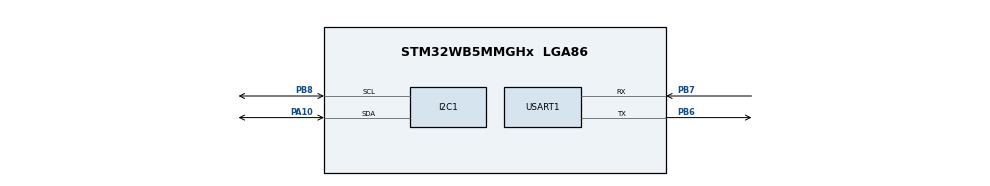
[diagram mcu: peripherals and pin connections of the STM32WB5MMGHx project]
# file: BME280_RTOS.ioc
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FREERTOS.Tasks01=Temperature,24,256,StartTemperature,Default,NULL,Dynamic,NULL,NULL;Pressure,16,256,StartPressure,Default,NULL,Dynamic,NULL,NULL;Humidity,8,256,StartHumidity,Default,NULL,Dynamic,NULL,NULL
FREERTOS.configMINIMAL_STACK_SIZE=128
FREERTOS.configTOTAL_HEAP_SIZE=6144
I2C1.Timing=0x10B17DB5
Mcu.Family=STM32WB
Mcu.Name=STM32WB5MMGHx
Mcu.Package=LGA86
NVIC.PriorityGroup=NVIC_PRIORITYGROUP_4
NVIC.TIM1_UP_TIM16_IRQn=true\:15\:0\:false\:false\:true\:false\:false\:true\:true
NVIC.TimeBase=TIM1_UP_TIM16_IRQn
NVIC.TimeBaseIP=TIM16
PA10.GPIO_Pu=GPIO_PULLUP
PA10.Mode=I2C
PA10.Signal=I2C1_SDA
PA13.Mode=Trace_Asynchronous_SW
PA13.Signal=SYS_JTMS-SWDIO
PA14.Mode=Trace_Asynchronous_SW
PA14.Signal=SYS_JTCK-SWCLK
PB3.Mode=Trace_Asynchronous_SW
PB3.Signal=SYS_JTDO-SWO
PB6.Mode=Asynchronous
PB6.Signal=USART1_TX
PB7.Mode=Asynchronous
PB7.Signal=USART1_RX
PB8.GPIO_FM8=SYSCFG_FASTMODEPLUS_PB8
PB8.GPIO_Pu=GPIO_PULLUP
PB8.Mode=I2C
PB8.Signal=I2C1_SCL
ProjectManager.HeapSize=0x200
ProjectManager.StackSize=0x400
ProjectManager.TargetToolchain=STM32CubeIDE
RCC.ADCFreq_Value=48000000
RCC.AHB2CLKDivider=RCC_SYSCLK_DIV2
RCC.AHBFreq_Value=64000000
RCC.APB1Freq_Value=64000000
RCC.APB1TimFreq_Value=64000000
RCC.APB2Freq_Value=64000000
RCC.APB2TimFreq_Value=64000000
RCC.APB3Freq_Value=16000000
RCC.Cortex2_Div=SYSTICK_CLKSOURCE_HCLK_DIV8
RCC.CortexFreq_Value=64000000
RCC.HCLKFreq_Value=64000000
RCC.HSE_VALUE=32000000
RCC.HSI48_VALUE=48000000
RCC.HSI_VALUE=16000000
RCC.PLLN=32
RCC.PLLSAI1N=24
RCC.SYSCLKFreq_VALUE=64000000
RCC.SYSCLKSource=RCC_SYSCLKSOURCE_PLLCLK
RCC.USBFreq_Value=48000000
RCC.VCOOutputFreq_Value=128000000
USART1.VirtualMode-Asynchronous=VM_ASYNC
VP_FREERTOS_VS_CMSIS_V2.Mode=CMSIS_V2
VP_MEMORYMAP_VS_MEMORYMAP.Mode=CurAppReg
VP_SYS_VS_tim16.Mode=TIM16
board=STM32WB5MM-DK

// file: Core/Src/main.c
/* USER CODE BEGIN Header */
/**
  ******************************************************************************
  * @file           : main.c
  * @brief          : Main program body
  ******************************************************************************
  * @attention
  *
  * Copyright (c) 2025 STMicroelectronics.
  * All rights reserved.
  *
  * This software is licensed under terms that can be found in the LICENSE file
  * in the root directory of this software component.
  * If no LICENSE file comes with this software, it is provided AS-IS.
  *
  ******************************************************************************
  */
/* USER CODE END Header */
#include "main.h"
#include "cmsis_os.h"

/* USER CODE BEGIN Includes */
#include "bme280.h"  // Include the new BMP280 header file
#include <stdio.h>
#include <stdint.h>
#include <string.h>

/* USER CODE END Includes */

/* USER CODE BEGIN PD */
//Registers store the temperature value (MSB, LSB, XLSB) - Data registers, read only.
//Without filter, resolution depends on osrs_t else it is always 20 bits
#define temp_xlsb 0xFC //Contains the XLSB part ut[3:0] of the raw temperature measurement output data, depends on pressure resolution
#define temp_lsb 0xFB //Contains the LSB part ut[11:4] of the raw temperature measurement output data
#define temp_msb 0xFA //Contains the MSB part ut[19:12] of the raw temperature measurement output data

//Without filter, resolution depends on osrs_p else it is always 20 bits
#define press_xslb 0xF9 //Contains the XLSB part up[3:0] of the raw pressure measurement output data, depends on temperature resolution
#define press_lsb 0xF8 //Contains the LSB part up[11:4] of the raw pressure measurement output data
#define press_msb 0xF7 //Contains the MSB part up[19:12] of the raw pressure measurement output data

//#define hum_xslb 0xF9
#define hum_lsb 0xFE //Contains the LSB part uh[7:0] of the raw humidity measurement output data
#define hum_msb 0xFD //Contains the MSB part uh[15:8] of the raw humidity measurement output data

#define config 0xF5 //Sets the rate, filter and interface options of the device, read/write except in bit1 does not change (reserved)
#define ctrl_meas 0xF4  //Sets the pressure and temperature data acquisition options on the device, read/write

#define status 0xF3 //Contains two bits that indicate status of the device, read only
#define reset 0xE0 //Contains soft reset word reset[7:0], write only
#define id 0xD0 //Chip identification number chip_id[0x60], read only

//Calibration data registers (read only) which store the factory calibration data for calculating the final value of pressure and temperature.
#define cal25 0xA1
#define cal24 0xA0
#define cal23 0x9F
#define cal22 0x9E
#define cal21 0x9D
#define cal20 0x9C
#define cal19 0x9B
#define cal18 0x9A
#define cal17 0x99
#define cal16 0x98
#define cal15 0x97
#define cal14 0x96
#define cal13 0x95
#define cal12 0x94
#define cal11 0x93
#define cal10 0x92
#define cal09 0x91
#define cal08 0x90
#define cal07 0x8F
#define cal06 0x8E
#define cal05 0x8D
#define cal04 0x8C
#define cal03 0x8B
#define cal02 0x8A
#define cal01 0x89
#define cal00 0x88

/* USER CODE END PD */

I2C_HandleTypeDef hi2c1;

UART_HandleTypeDef huart1;

/* Definitions for Temperature */
osThreadId_t TemperatureHandle;
const osThreadAttr_t Temperature_attributes = {
  .name = "Temperature",
  .priority = (osPriority_t) osPriorityNormal,
  .stack_size = 256 * 4
};
/* Definitions for Pressure */
osThreadId_t PressureHandle;
const osThreadAttr_t Pressure_attributes = {
  .name = "Pressure",
  .priority = (osPriority_t) osPriorityBelowNormal,
  .stack_size = 256 * 4
};
/* Definitions for Humidity */
osThreadId_t HumidityHandle;
const osThreadAttr_t Humidity_attributes = {
  .name = "Humidity",
  .priority = (osPriority_t) osPriorityLow,
  .stack_size = 256 * 4
};

void SystemClock_Config(void);
void PeriphCommonClock_Config(void);
static void MX_GPIO_Init(void);
static void MX_I2C1_Init(void);
static void MX_USART1_UART_Init(void);
void StartTemperature(void *argument);
void StartPressure(void *argument);
void StartHumidity(void *argument);

int main(void)
{

  /* MCU Configuration--------------------------------------------------------*/

  /* Reset of all peripherals, Initializes the Flash interface and the Systick. */
  HAL_Init();

  /* Configure the system clock */
  SystemClock_Config();

  /* Configure the peripherals common clocks */
  PeriphCommonClock_Config();

  /* Initialize all configured peripherals */
  MX_GPIO_Init();
  MX_I2C1_Init();
  MX_USART1_UART_Init();
  /* USER CODE BEGIN 2 */

  uint8_t chipID = 0;

  //Writes configuration values to the ctrl_meas register, setting the measurement mode
  uint8_t BMP280_Config[2]={0xB3,0xA0};
  HAL_I2C_Mem_Write(&hi2c1, DEVICE_ADDRESS_L,ctrl_meas,1,BMP280_Config,2,0x10000);

  //uint8_t temp_data[3], press_data[3], hum_data[2];

  /* Read Calibration Data */
  read_calibration_data(&hi2c1);

  /* USER CODE END 2 */

  /* Init scheduler */
  osKernelInitialize();

  /* Create the thread(s) */
  /* creation of Temperature */
  TemperatureHandle = osThreadNew(StartTemperature, NULL, &Temperature_attributes);

  /* creation of Pressure */
  PressureHandle = osThreadNew(StartPressure, NULL, &Pressure_attributes);

  /* creation of Humidity */
  HumidityHandle = osThreadNew(StartHumidity, NULL, &Humidity_attributes);

  /* Start scheduler */
  osKernelStart();

  /* We should never get here as control is now taken by the scheduler */

  /* Infinite loop */
  while (1)
  {

    /* USER CODE BEGIN 3 */
	//HAL_Delay(1000);  // Update data every 1 second
  }
  /* USER CODE END 3 */
}

void SystemClock_Config(void)
{
  RCC_OscInitTypeDef RCC_OscInitStruct = {0};
  RCC_ClkInitTypeDef RCC_ClkInitStruct = {0};

  /** Configure the main internal regulator output voltage
  */
  __HAL_PWR_VOLTAGESCALING_CONFIG(PWR_REGULATOR_VOLTAGE_SCALE1);

  /** Initializes the RCC Oscillators according to the specified parameters
  * in the RCC_OscInitTypeDef structure.
  */
  RCC_OscInitStruct.OscillatorType = RCC_OSCILLATORTYPE_HSI|RCC_OSCILLATORTYPE_MSI;
  RCC_OscInitStruct.HSIState = RCC_HSI_ON;
  RCC_OscInitStruct.MSIState = RCC_MSI_ON;
  RCC_OscInitStruct.HSICalibrationValue = RCC_HSICALIBRATION_DEFAULT;
  RCC_OscInitStruct.MSICalibrationValue = RCC_MSICALIBRATION_DEFAULT;
  RCC_OscInitStruct.MSIClockRange = RCC_MSIRANGE_6;
  RCC_OscInitStruct.PLL.PLLState = RCC_PLL_ON;
  RCC_OscInitStruct.PLL.PLLSource = RCC_PLLSOURCE_MSI;
  RCC_OscInitStruct.PLL.PLLM = RCC_PLLM_DIV1;
  RCC_OscInitStruct.PLL.PLLN = 32;
  RCC_OscInitStruct.PLL.PLLP = RCC_PLLP_DIV2;
  RCC_OscInitStruct.PLL.PLLR = RCC_PLLR_DIV2;
  RCC_OscInitStruct.PLL.PLLQ = RCC_PLLQ_DIV2;
  if (HAL_RCC_OscConfig(&RCC_OscInitStruct) != HAL_OK)
  {
    Error_Handler();
  }

  /** Configure the SYSCLKSource, HCLK, PCLK1 and PCLK2 clocks dividers
  */
  RCC_ClkInitStruct.ClockType = RCC_CLOCKTYPE_HCLK4|RCC_CLOCKTYPE_HCLK2
                              |RCC_CLOCKTYPE_HCLK|RCC_CLOCKTYPE_SYSCLK
                              |RCC_CLOCKTYPE_PCLK1|RCC_CLOCKTYPE_PCLK2;
  RCC_ClkInitStruct.SYSCLKSource = RCC_SYSCLKSOURCE_PLLCLK;
  RCC_ClkInitStruct.AHBCLKDivider = RCC_SYSCLK_DIV1;
  RCC_ClkInitStruct.APB1CLKDivider = RCC_HCLK_DIV1;
  RCC_ClkInitStruct.APB2CLKDivider = RCC_HCLK_DIV1;
  RCC_ClkInitStruct.AHBCLK2Divider = RCC_SYSCLK_DIV2;
  RCC_ClkInitStruct.AHBCLK4Divider = RCC_SYSCLK_DIV1;

  if (HAL_RCC_ClockConfig(&RCC_ClkInitStruct, FLASH_LATENCY_3) != HAL_OK)
  {
    Error_Handler();
  }
}

void PeriphCommonClock_Config(void)
{
  RCC_PeriphCLKInitTypeDef PeriphClkInitStruct = {0};

  /** Initializes the peripherals clock
  */
  PeriphClkInitStruct.PeriphClockSelection = RCC_PERIPHCLK_SMPS;
  PeriphClkInitStruct.SmpsClockSelection = RCC_SMPSCLKSOURCE_HSI;
  PeriphClkInitStruct.SmpsDivSelection = RCC_SMPSCLKDIV_RANGE1;

  if (HAL_RCCEx_PeriphCLKConfig(&PeriphClkInitStruct) != HAL_OK)
  {
    Error_Handler();
  }
}

static void MX_I2C1_Init(void)
{

  hi2c1.Instance = I2C1;
  hi2c1.Init.Timing = 0x10B17DB5;
  hi2c1.Init.OwnAddress1 = 0;
  hi2c1.Init.AddressingMode = I2C_ADDRESSINGMODE_7BIT;
  hi2c1.Init.DualAddressMode = I2C_DUALADDRESS_DISABLE;
  hi2c1.Init.OwnAddress2 = 0;
  hi2c1.Init.OwnAddress2Masks = I2C_OA2_NOMASK;
  hi2c1.Init.GeneralCallMode = I2C_GENERALCALL_DISABLE;
  hi2c1.Init.NoStretchMode = I2C_NOSTRETCH_DISABLE;
  if (HAL_I2C_Init(&hi2c1) != HAL_OK)
  {
    Error_Handler();
  }

  /** Configure Analogue filter
  */
  if (HAL_I2CEx_ConfigAnalogFilter(&hi2c1, I2C_ANALOGFILTER_ENABLE) != HAL_OK)
  {
    Error_Handler();
  }

  /** Configure Digital filter
  */
  if (HAL_I2CEx_ConfigDigitalFilter(&hi2c1, 0) != HAL_OK)
  {
    Error_Handler();
  }

}

static void MX_USART1_UART_Init(void)
{

  huart1.Instance = USART1;
  huart1.Init.BaudRate = 115200;
  huart1.Init.WordLength = UART_WORDLENGTH_8B;
  huart1.Init.StopBits = UART_STOPBITS_1;
  huart1.Init.Parity = UART_PARITY_NONE;
  huart1.Init.Mode = UART_MODE_TX_RX;
  huart1.Init.HwFlowCtl = UART_HWCONTROL_NONE;
  huart1.Init.OverSampling = UART_OVERSAMPLING_16;
  huart1.Init.OneBitSampling = UART_ONE_BIT_SAMPLE_DISABLE;
  huart1.Init.ClockPrescaler = UART_PRESCALER_DIV1;
  huart1.AdvancedInit.AdvFeatureInit = UART_ADVFEATURE_NO_INIT;
  if (HAL_UART_Init(&huart1) != HAL_OK)
  {
    Error_Handler();
  }
  if (HAL_UARTEx_SetTxFifoThreshold(&huart1, UART_TXFIFO_THRESHOLD_1_8) != HAL_OK)
  {
    Error_Handler();
  }
  if (HAL_UARTEx_SetRxFifoThreshold(&huart1, UART_RXFIFO_THRESHOLD_1_8) != HAL_OK)
  {
    Error_Handler();
  }
  if (HAL_UARTEx_DisableFifoMode(&huart1) != HAL_OK)
  {
    Error_Handler();
  }

}

static void MX_GPIO_Init(void)
{

  /* GPIO Ports Clock Enable */
  __HAL_RCC_GPIOB_CLK_ENABLE();
  __HAL_RCC_GPIOA_CLK_ENABLE();

}

void StartTemperature(void *argument)
{
  /* USER CODE BEGIN 5 */
  /* Infinite loop */
  while(1){
	  uint8_t temp_data[3];
	  unsigned char temp_reg = 0xFA;

      // Read Raw temperature
      HAL_I2C_Master_Transmit(&hi2c1, DEVICE_ADDRESS_L, &temp_reg, 1, 500);
      HAL_I2C_Master_Receive(&hi2c1, DEVICE_ADDRESS_L | 0x01, temp_data, 3, 500);

      // Convert raw temperature data (20-bit value) + Compensate
      int32_t raw_temp = ((int32_t)temp_data[0] << 12) | ((int32_t)temp_data[1] << 4) | (temp_data[2] >> 4);
      float temp = compensate_temperature(raw_temp);

      // Print to UART
      //char buffer[50];
      //sprintf(buffer, "Temperature: %.2f \xB0C \r\n", temp);
      //HAL_UART_Transmit(&huart1, (uint8_t *)buffer, strlen(buffer), 100);

      //Print to SWV
      printf("Task 1 \n");
      printf("Temperature: %.2f C\r\n", temp);
      fflush(stdout);

      osDelay(1000);
  }
  /* USER CODE END 5 */
}

void StartPressure(void *argument)
{
  /* USER CODE BEGIN StartPressure */
  /* Infinite loop */
  while(1){
	  uint8_t press_data[3];
	  unsigned char press_reg = 0xF7;

	  // Read Raw Pressure
	  HAL_I2C_Master_Transmit(&hi2c1, DEVICE_ADDRESS_L, &press_reg, 1, 500);
	  HAL_I2C_Master_Receive(&hi2c1, DEVICE_ADDRESS_L | 0x01, press_data, 3, 500);

	  // Convert raw pressure data (20-bit value)+ Compensate
	  int32_t raw_press = ((int32_t)press_data[0] << 12) | ((int32_t)press_data[1] << 4) | (press_data[2] >> 4);
	  float pressure = compensate_pressure(raw_press);

	  // Print to UART
	  //char buffer[50];
	  //sprintf(buffer, "Pressure: %.2f hPa\r\n", pressure);
	  //HAL_UART_Transmit(&huart1, (uint8_t *)buffer, strlen(buffer), 100);

	  //Print to SWV
	  printf("Task 2 \n");
	  printf("Pressure: %.2f hPa\r\n", pressure);
	  fflush(stdout);

	  osDelay(1000);
  }
  /* USER CODE END StartPressure */
}

void StartHumidity(void *argument)
{
  /* USER CODE BEGIN StartHumidity */
  /* Infinite loop */
  while(1){
	  uint8_t hum_data[2];
	  unsigned char hum_reg = 0xFD;

	  // Read Raw Humidity
	  HAL_I2C_Master_Transmit(&hi2c1, DEVICE_ADDRESS_L, &hum_reg, 1, 500);
	  HAL_I2C_Master_Receive(&hi2c1, DEVICE_ADDRESS_L | 0x01, hum_data, 2, 500);

	  // Convert raw pressure data (20-bit value)+ Compensate
	  int32_t raw_hum = ((int32_t)hum_data[0] << 8) | hum_data[1];
	  float humidity = compensate_humidity(raw_hum);

	  // Print to UART
	  //char buffer[50];
	  //sprintf(buffer, "Humidity: %.2f %%\r\n", humidity);
	  //HAL_UART_Transmit(&huart1, (uint8_t *)buffer, strlen(buffer), 100);

	  //Print to SWV
	  printf("Task 3 \n");
	  printf("Humidity: %.2f %%\r\n", humidity);
	  fflush(stdout);

	  osDelay(1000);
  }
  /* USER CODE END StartHumidity */
}

void HAL_TIM_PeriodElapsedCallback(TIM_HandleTypeDef *htim)
{
  if (htim->Instance == TIM16) {
    HAL_IncTick();
  }
}

void Error_Handler(void)
{
  __disable_irq();
  while (1)
  {
  }
}
